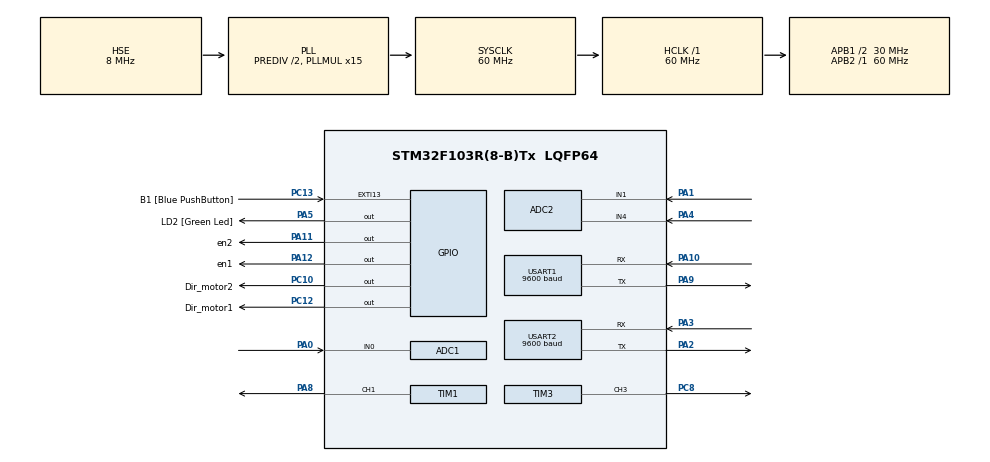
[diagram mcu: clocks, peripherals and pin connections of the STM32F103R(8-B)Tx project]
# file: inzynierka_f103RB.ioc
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ADC1.Channel-1\#ChannelRegularConversion=ADC_CHANNEL_0
ADC1.Channel-2\#ChannelInjectedConversion=ADC_CHANNEL_0
ADC1.ContinuousConvMode=ENABLE
ADC1.InjNumberOfConversion=1
ADC1.InjectedOffset-2\#ChannelInjectedConversion=0
ADC1.NbrOfConversionFlag=1
ADC1.Rank-1\#ChannelRegularConversion=1
ADC1.Rank-2\#ChannelInjectedConversion=1
ADC1.SamplingTime-1\#ChannelRegularConversion=ADC_SAMPLETIME_1CYCLE_5
ADC1.SamplingTime-2\#ChannelInjectedConversion=ADC_SAMPLETIME_1CYCLE_5
ADC1.master=1
ADC2.Channel-1\#ChannelRegularConversion=ADC_CHANNEL_1
ADC2.ContinuousConvMode=ENABLE
ADC2.NbrOfConversionFlag=1
ADC2.Rank-1\#ChannelRegularConversion=1
ADC2.SamplingTime-1\#ChannelRegularConversion=ADC_SAMPLETIME_1CYCLE_5
Mcu.Family=STM32F1
Mcu.Name=STM32F103R(8-B)Tx
Mcu.Package=LQFP64
NVIC.EXTI15_10_IRQn=true\:0\:0\:false\:false\:true\:true\:true
NVIC.PriorityGroup=NVIC_PRIORITYGROUP_4
PA0-WKUP.Signal=ADCx_IN0
PA1.Signal=ADCx_IN1
PA10.Mode=Asynchronous
PA10.Signal=USART1_RX
PA11.GPIO_Label=en2
PA11.Signal=GPIO_Output
PA12.GPIO_Label=en1
PA12.Signal=GPIO_Output
PA13.GPIO_Label=TMS
PA13.Mode=Serial_Wire
PA13.Signal=SYS_JTMS-SWDIO
PA14.GPIO_Label=TCK
PA14.Mode=Serial_Wire
PA14.Signal=SYS_JTCK-SWCLK
PA2.Mode=Asynchronous
PA2.Signal=USART2_TX
PA3.Mode=Asynchronous
PA3.Signal=USART2_RX
PA4.Signal=ADCx_IN4
PA5.GPIO_Label=LD2 [Green Led]
PA5.GPIO_ModeDefaultOutputPP=GPIO_MODE_OUTPUT_PP
PA5.GPIO_PuPd=GPIO_NOPULL
PA5.GPIO_Speed=GPIO_SPEED_FREQ_LOW
PA5.Signal=GPIO_Output
PA8.Signal=S_TIM1_CH1
PA9.Mode=Asynchronous
PA9.Signal=USART1_TX
PB3.GPIO_Label=SWO
PB3.Signal=SYS_JTDO-TRACESWO
PC10.GPIO_Label=Dir_motor2
PC10.Signal=GPIO_Output
PC12.GPIO_Label=Dir_motor1
PC12.Signal=GPIO_Output
PC13-TAMPER-RTC.GPIO_Label=B1 [Blue PushButton]
PC13-TAMPER-RTC.GPIO_PuPd=GPIO_NOPULL
PC13-TAMPER-RTC.Signal=GPXTI13
PC14-OSC32_IN.Mode=LSE-External-Oscillator
PC14-OSC32_IN.Signal=RCC_OSC32_IN
PC15-OSC32_OUT.Mode=LSE-External-Oscillator
PC15-OSC32_OUT.Signal=RCC_OSC32_OUT
PC8.Signal=S_TIM3_CH3
PD0-OSC_IN.Mode=HSE-External-Clock-Source
PD0-OSC_IN.Signal=RCC_OSC_IN
PD1-OSC_OUT.Mode=HSE-External-Clock-Source
PD1-OSC_OUT.Signal=RCC_OSC_OUT
ProjectManager.HeapSize=0x200
ProjectManager.StackSize=0x400
ProjectManager.TargetToolchain=STM32CubeIDE
RCC.ADCPresc=RCC_ADCPCLK2_DIV6
RCC.AHBFreq_Value=60000000
RCC.APB1CLKDivider=RCC_HCLK_DIV2
RCC.APB1Freq_Value=30000000
RCC.APB1TimFreq_Value=60000000
RCC.APB2Freq_Value=60000000
RCC.APB2TimFreq_Value=60000000
RCC.HCLKFreq_Value=60000000
RCC.HSEDivPLL=RCC_HSE_PREDIV_DIV2
RCC.PLLMUL=RCC_PLL_MUL15
RCC.PLLSourceVirtual=RCC_PLLSOURCE_HSE
RCC.RTCClockSelection=RCC_RTCCLKSOURCE_LSE
RCC.SYSCLKFreq_VALUE=60000000
RCC.SYSCLKSource=RCC_SYSCLKSOURCE_PLLCLK
RCC.USBFreq_Value=60000000
SH.ADCx_IN0.0=ADC1_IN0,IN0
SH.ADCx_IN1.0=ADC2_IN1,IN1
SH.ADCx_IN4.0=ADC2_IN4,IN4
SH.S_TIM1_CH1.0=TIM1_CH1,PWM Generation1 CH1
SH.S_TIM3_CH3.0=TIM3_CH3,PWM Generation3 CH3
TIM1.Channel-PWM\ Generation1\ CH1=TIM_CHANNEL_1
TIM1.Period=99
TIM1.Prescaler=4999
TIM1.Pulse-PWM\ Generation1\ CH1=50
TIM3.Channel-PWM\ Generation3\ CH3=TIM_CHANNEL_3
TIM3.Period=99
TIM3.Prescaler=4999
TIM3.Pulse-PWM\ Generation3\ CH3=50
USART1.BaudRate=9600
USART1.VirtualMode=VM_ASYNC
USART2.BaudRate=9600
USART2.VirtualMode=VM_ASYNC
VP_TIM1_VS_ClockSourceINT.Mode=Internal
VP_TIM3_VS_ClockSourceINT.Mode=Internal
board=NUCLEO-F103RB

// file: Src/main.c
/* USER CODE BEGIN Header */
/**
  ******************************************************************************
  * @file           : main.c
  * @brief          : Main program body
  ******************************************************************************
  * @attention
  *
  * <h2><center>&copy; Copyright (c) 2020 STMicroelectronics.
  * All rights reserved.</center></h2>
  *
  * This software component is licensed by ST under BSD 3-Clause license,
  * the "License"; You may not use this file except in compliance with the
  * License. You may obtain a copy of the License at:
  *                        opensource.org/licenses/BSD-3-Clause
  *
  ******************************************************************************
  */
/* USER CODE END Header */

#include "main.h"
#include "adc.h"
#include "tim.h"
#include "usart.h"
#include "gpio.h"

/* USER CODE BEGIN PV */
uint8_t RX_Buff[20];
uint16_t ADCValueFront, ADCValueLeft, tekst;
uint8_t RUN = 1, RUN2 = 0;
uint16_t krok = 19891/4, skret90 = 5646/4, preskaler = 5000/4, sygnal = 3100;
uint8_t tablica[40] = {0};
uint8_t pos = 1, pom1, pom2, pom3, pom4, pom5, pom6, pom7, pom8, pom9, pom10;
uint8_t skandal[40];

int i;
char dzialanie, trasa, koniec;
uint8_t przycisk = 0;
/* USER CODE END PV */

void SystemClock_Config(void);
/* USER CODE BEGIN PFP */
void jazdaPrzod( uint16_t Tim, uint16_t Pr1, uint16_t Pr2);
void jazdaPrawo( uint16_t Tim);
void jazdaLewo( uint16_t Tim);
void pomiar(void);

/* USER CODE END PFP */

int main(void)
{

  /* MCU Configuration--------------------------------------------------------*/

  /* Reset of all peripherals, Initializes the Flash interface and the Systick. */
  HAL_Init();

  /* Configure the system clock */
  SystemClock_Config();

  /* Initialize all configured peripherals */
  MX_GPIO_Init();
  MX_USART2_UART_Init();
  MX_TIM3_Init();
  MX_TIM1_Init();
  MX_ADC1_Init();
  MX_ADC2_Init();
  MX_USART1_UART_Init();
  /* USER CODE BEGIN 2 */
  huart2 = huart1;
//while(1){
  //pomiar();
//}
HAL_Delay(12000);
  /* USER CODE END 2 */
  /* Infinite loop */
  /* USER CODE BEGIN WHILE */
  while (1)
  {
	  pomiar();
	  	  if (RUN == 1){
	  		    if(ADCValueLeft < sygnal && ADCValueFront > sygnal)
	  		    {

	  		    						dzialanie = 'F';
										tablica[pos -1] = dzialanie;
										dzialanie = 0;
										jazdaPrzod(krok,preskaler,preskaler);
										RUN = 1;}

	  		    }
	  		    else if(ADCValueFront > sygnal && ADCValueLeft > sygnal)
	  		    {
	  		    	dzialanie = 'L';
	  		    	tablica[pos -1] = dzialanie;
	  		    	dzialanie = 0;
	  		    	jazdaLewo(skret90+15);
	  		    	HAL_Delay(500);
	  		    	jazdaPrzod(krok, preskaler, preskaler);
	  		    	RUN = 1;
	  		    }
	  		    else if (ADCValueFront < sygnal && ADCValueLeft > sygnal){

	  		    	dzialanie = 'L';
	  		    	tablica[pos -1] = dzialanie;
	  		    	dzialanie = 0;
	  		    	jazdaLewo(skret90+15);
	  		    	HAL_Delay(500);
	  		    	jazdaPrzod(krok, preskaler, preskaler);
	  		    	RUN = 1;
	  		    }
	  		    else if(ADCValueLeft < sygnal  && ADCValueFront < sygnal)
	  		    {
	  		    	dzialanie = 'R';
	  		    	tablica[pos -1] = dzialanie;
	  		    	dzialanie = 0;
	  		    	jazdaPrawo(skret90);
	  		    	RUN = 1;
	  		    }
	  		    else {
	  		    	jazdaLewo(1000);
	  		    	jazdaPrawo(1000);
	  		    	jazdaLewo(1000);
	  		    	dzialanie = 'K';
	  		    	tablica[pos -1] = dzialanie;
	  		    	dzialanie = 0;
	  		    	RUN = 0;
	  		    }

	  		    pomiar();

	  		    pos = pos +1 ;
	  		    HAL_UART_Receive(&huart2, (uint8_t *)&koniec, 1, 1000);

	  		    if (koniec == '1') {
	  		    	tablica[pos -1] = 'K';
	  		    	HAL_UART_Transmit(&huart2, (uint8_t*)tablica, sizeof(tablica), 1000);
	  		    	jazdaLewo(2000);
	  		    	jazdaPrawo(4000);
	  		    	jazdaLewo(2000);
	  		    	RUN = 0;
	  		    	RUN2 = 1;
	  		  }

	  		    HAL_Delay(500);
	  		    }
	  	  if (RUN2 == 1){

	  		    if (HAL_UART_Receive(&huart2, (uint8_t*)skandal, 40, 10000) == HAL_OK){
	  		    	jazdaLewo(skret90*2);
	  		    	for (i=0; i<sizeof(skandal); i++){
	  		    		if (skandal[i] == 'F'){
	  		    			jazdaPrzod(krok, preskaler, preskaler);

	  		    	}	if (skandal[i] == 'R'){
	  		    			jazdaPrawo(skret90);
	  		    			jazdaPrzod(krok, preskaler, preskaler);

	  		    	}	if (skandal[i] == 'L'){
	  		    			jazdaLewo(skret90);
	  		    			jazdaPrzod(krok, preskaler, preskaler);

	  		    	}	if (skandal[i] == 'K') {
	  		    			jazdaLewo(skret90/2);
	  		    			jazdaPrawo(skret90);
	  		    			jazdaLewo(skret90/2);
	  		    			RUN2 = 0;
	  		    	}
	  		    }
	  		    }
	  		    }

    /* USER CODE END WHILE */

  }
}

void SystemClock_Config(void)
{
  RCC_OscInitTypeDef RCC_OscInitStruct = {0};
  RCC_ClkInitTypeDef RCC_ClkInitStruct = {0};
  RCC_PeriphCLKInitTypeDef PeriphClkInit = {0};

  /** Initializes the CPU, AHB and APB busses clocks
  */
  RCC_OscInitStruct.OscillatorType = RCC_OSCILLATORTYPE_HSE;
  RCC_OscInitStruct.HSEState = RCC_HSE_BYPASS;
  RCC_OscInitStruct.HSEPredivValue = RCC_HSE_PREDIV_DIV2;
  RCC_OscInitStruct.HSIState = RCC_HSI_ON;
  RCC_OscInitStruct.PLL.PLLState = RCC_PLL_ON;
  RCC_OscInitStruct.PLL.PLLSource = RCC_PLLSOURCE_HSE;
  RCC_OscInitStruct.PLL.PLLMUL = RCC_PLL_MUL15;
  if (HAL_RCC_OscConfig(&RCC_OscInitStruct) != HAL_OK)
  {
    Error_Handler();
  }
  /** Initializes the CPU, AHB and APB busses clocks
  */
  RCC_ClkInitStruct.ClockType = RCC_CLOCKTYPE_HCLK|RCC_CLOCKTYPE_SYSCLK
                              |RCC_CLOCKTYPE_PCLK1|RCC_CLOCKTYPE_PCLK2;
  RCC_ClkInitStruct.SYSCLKSource = RCC_SYSCLKSOURCE_PLLCLK;
  RCC_ClkInitStruct.AHBCLKDivider = RCC_SYSCLK_DIV1;
  RCC_ClkInitStruct.APB1CLKDivider = RCC_HCLK_DIV2;
  RCC_ClkInitStruct.APB2CLKDivider = RCC_HCLK_DIV1;

  if (HAL_RCC_ClockConfig(&RCC_ClkInitStruct, FLASH_LATENCY_2) != HAL_OK)
  {
    Error_Handler();
  }
  PeriphClkInit.PeriphClockSelection = RCC_PERIPHCLK_ADC;
  PeriphClkInit.AdcClockSelection = RCC_ADCPCLK2_DIV6;
  if (HAL_RCCEx_PeriphCLKConfig(&PeriphClkInit) != HAL_OK)
  {
    Error_Handler();
  }
}

/* USER CODE BEGIN 4 */

void pomiar(void)
{

  HAL_ADC_Start(&hadc1);
	  if(HAL_ADC_PollForConversion(&hadc1,1) == HAL_OK)
		  {
			  ADCValueFront = HAL_ADC_GetValue(&hadc1);
		  }
	  HAL_ADC_Start(&hadc2);
	  		  if(HAL_ADC_PollForConversion(&hadc2,1)== HAL_OK)
	  		 {
	  			  ADCValueLeft = HAL_ADC_GetValue(&hadc2);

	  		}
}

void jazdaPrzod( uint16_t Tim, uint16_t Pr1, uint16_t Pr2)
{
	  HAL_TIM_PWM_Stop(&htim1,TIM_CHANNEL_1);
	  HAL_TIM_PWM_Stop(&htim3,TIM_CHANNEL_3);

	  HAL_GPIO_WritePin(en1_GPIO_Port, en1_Pin, GPIO_PIN_RESET);
	  HAL_GPIO_WritePin(en2_GPIO_Port, en2_Pin, GPIO_PIN_RESET);

	  HAL_GPIO_WritePin(Dir_motor1_GPIO_Port, Dir_motor1_Pin, GPIO_PIN_RESET);
	  HAL_GPIO_WritePin(Dir_motor2_GPIO_Port, Dir_motor2_Pin, GPIO_PIN_SET);
	  __HAL_TIM_SET_PRESCALER(&htim1, Pr1);
	  __HAL_TIM_SET_PRESCALER(&htim3, Pr2);

	  HAL_TIM_PWM_Start(&htim1,TIM_CHANNEL_1);
	  HAL_TIM_PWM_Start(&htim3,TIM_CHANNEL_3);

	  HAL_Delay(Tim);

	  HAL_TIM_PWM_Stop(&htim1,TIM_CHANNEL_1);
	  HAL_TIM_PWM_Stop(&htim3,TIM_CHANNEL_3);

}

void jazdaLewo( uint16_t Tim)
{

	  HAL_TIM_PWM_Stop(&htim1,TIM_CHANNEL_1);
	  HAL_TIM_PWM_Stop(&htim3,TIM_CHANNEL_3);

	  HAL_GPIO_WritePin(en1_GPIO_Port, en1_Pin, GPIO_PIN_RESET);
	  HAL_GPIO_WritePin(en2_GPIO_Port, en2_Pin, GPIO_PIN_RESET);

	  HAL_GPIO_WritePin(Dir_motor1_GPIO_Port, Dir_motor1_Pin, GPIO_PIN_SET);
	  HAL_GPIO_WritePin(Dir_motor2_GPIO_Port, Dir_motor2_Pin, GPIO_PIN_SET);
	  __HAL_TIM_SET_PRESCALER(&htim1, preskaler);
	  __HAL_TIM_SET_PRESCALER(&htim3, preskaler);
	  HAL_TIM_PWM_Start(&htim1,TIM_CHANNEL_1);
	  HAL_TIM_PWM_Start(&htim3,TIM_CHANNEL_3);

	  HAL_Delay(Tim);
	  HAL_TIM_PWM_Stop(&htim1,TIM_CHANNEL_1);
	  HAL_TIM_PWM_Stop(&htim3,TIM_CHANNEL_3);

}

void jazdaPrawo( uint16_t Tim)
{

	  HAL_TIM_PWM_Stop(&htim1,TIM_CHANNEL_1);
	  HAL_TIM_PWM_Stop(&htim3,TIM_CHANNEL_3);

	  HAL_GPIO_WritePin(en1_GPIO_Port, en1_Pin, GPIO_PIN_RESET);
	  HAL_GPIO_WritePin(en2_GPIO_Port, en2_Pin, GPIO_PIN_RESET);

	  HAL_GPIO_WritePin(Dir_motor1_GPIO_Port, Dir_motor1_Pin, GPIO_PIN_RESET);
	  HAL_GPIO_WritePin(Dir_motor2_GPIO_Port, Dir_motor2_Pin, GPIO_PIN_RESET);
	  __HAL_TIM_SET_PRESCALER(&htim1, preskaler);
	  __HAL_TIM_SET_PRESCALER(&htim3, preskaler);
	  HAL_TIM_PWM_Start(&htim1,TIM_CHANNEL_1);
	  HAL_TIM_PWM_Start(&htim3,TIM_CHANNEL_3);

	  HAL_Delay(Tim);
	  HAL_TIM_PWM_Stop(&htim1,TIM_CHANNEL_1);
	  HAL_TIM_PWM_Stop(&htim3,TIM_CHANNEL_3);

}
/* USER CODE END 4 */

void Error_Handler(void)
{
}

/************************ (C) COPYRIGHT STMicroelectronics *****END OF FILE****/
